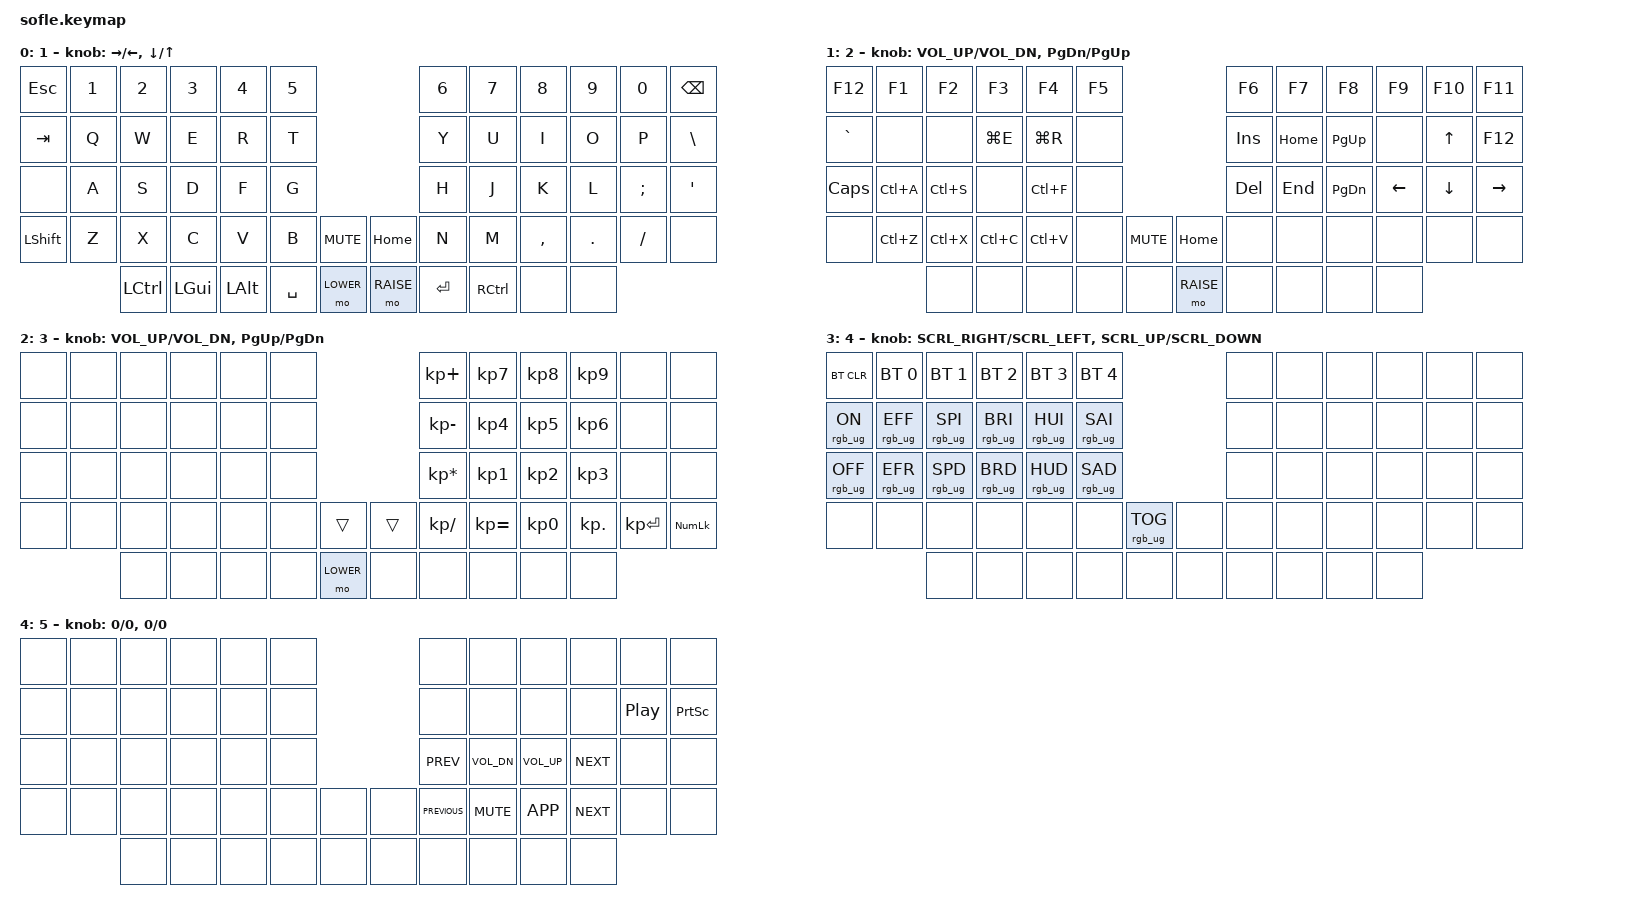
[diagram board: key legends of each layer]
/*
 * Copyright (c) 2020 The ZMK Contributors
 *
 * SPDX-License-Identifier: MIT
 */

#include <behaviors.dtsi>
#include <dt-bindings/zmk/bt.h>
#include <dt-bindings/zmk/ext_power.h>
#include <dt-bindings/zmk/keys.h>
#include <dt-bindings/zmk/pointing.h>
#include <dt-bindings/zmk/rgb.h>

#define BASE 0
#define LOWER 1
#define RAISE 2
#define ADJUST 3
#define FN 4

/ {
    behaviors {
        inc_dec_msc: inc_dec_msc {
            compatible = "zmk,behavior-sensor-rotate-var";
            #sensor-binding-cells = <2>;
            bindings = <&msc>, <&msc>;
        };
    };

    combos {
        compatible = "zmk,combos";

        combo_exclamation {
            timeout-ms = <200>;
            key-positions = <13 25>;
            bindings = <&kp EXCL>;
            layers = <BASE>;
        };

        combo_at {
            timeout-ms = <200>;
            key-positions = <14 26>;
            bindings = <&kp AT>;
            layers = <BASE>;
        };

        combo_hash {
            timeout-ms = <200>;
            key-positions = <15 27>;
            bindings = <&kp HASH>;
            layers = <BASE>;
        };

        combo_dollar {
            timeout-ms = <200>;
            key-positions = <16 28>;
            bindings = <&kp DLLR>;
            layers = <BASE>;
        };

        combo_percent {
            timeout-ms = <200>;
            key-positions = <17 29>;
            bindings = <&kp PRCNT>;
            layers = <BASE>;
        };

        combo_caret {
            timeout-ms = <200>;
            key-positions = <18 30>;
            bindings = <&kp CARET>;
            layers = <BASE>;
        };

        combo_ampersand {
            timeout-ms = <200>;
            key-positions = <19 31>;
            bindings = <&kp AMPS>;
            layers = <BASE>;
        };

        combo_asterisk {
            timeout-ms = <200>;
            key-positions = <20 32>;
            bindings = <&kp ASTRK>;
            layers = <BASE>;
        };

        combo_left_brace {
            timeout-ms = <200>;
            key-positions = <3 4>;
            bindings = <&kp LBRC>;
            layers = <BASE>;
        };

        combo_left_bracket {
            timeout-ms = <200>;
            key-positions = <15 16>;
            bindings = <&kp LBKT>;
            layers = <BASE>;
        };

        combo_left_parenthesis {
            timeout-ms = <200>;
            key-positions = <27 28>;
            bindings = <&kp LPAR>;
            layers = <BASE>;
        };

        combo_less_than {
            timeout-ms = <200>;
            key-positions = <39 40>;
            bindings = <&kp LT>;
            layers = <BASE>;
        };

        combo_right_brace {
            timeout-ms = <200>;
            key-positions = <7 8>;
            bindings = <&kp RBRC>;
            layers = <BASE>;
        };

        combo_right_bracket {
            timeout-ms = <200>;
            key-positions = <19 20>;
            bindings = <&kp RBKT>;
            layers = <BASE>;
        };

        combo_right_parenthesis {
            timeout-ms = <200>;
            key-positions = <31 32>;
            bindings = <&kp RPAR>;
            layers = <BASE>;
        };

        combo_greater_than {
            timeout-ms = <200>;
            key-positions = <45 46>;
            bindings = <&kp GT>;
            layers = <BASE>;
        };

        combo_minus {
            timeout-ms = <200>;
            key-positions = <29 30>;
            bindings = <&kp MINUS>;
            layers = <BASE>;
        };

        combo_underscore {
            timeout-ms = <200>;
            key-positions = <40 41>;
            bindings = <&kp UNDER>;
            layers = <BASE>;
        };

        combo_delete {
            timeout-ms = <200>;
            key-positions = <11 23>;
            bindings = <&kp DEL>;
            layers = <BASE>;
        };
    };

    conditional_layers {
        compatible = "zmk,conditional-layers";

        adjust_layer {
            if-layers = <LOWER RAISE>;
            then-layer = <ADJUST>;
        };
    };

    keymap {
        compatible = "zmk,keymap";

        default_layer {
            display-name = "1";
            bindings = <
&kp ESC    &kp N1     &kp N2    &kp N3   &kp N4     &kp N5                              &kp N6  &kp N7    &kp N8     &kp N9   &kp N0    &kp BSPC
&kp TAB    &kp Q      &kp W     &kp E    &kp R      &kp T                               &kp Y   &kp U     &kp I      &kp O    &kp P     &kp BSLH
&none      &kp A      &kp S     &kp D    &kp F      &kp G                               &kp H   &kp J     &kp K      &kp L    &kp SEMI  &kp SINGLE_QUOTE
&kp LSHFT  &kp Z      &kp X     &kp C    &kp V      &kp B      &kp C_MUTE    &kp HOME   &kp N   &kp M     &kp COMMA  &kp DOT  &kp FSLH  &none
                    &kp LCTRL  &kp LGUI  &kp LALT  &kp SPACE  &mo LOWER    &mo RAISE  &kp ENTER  &kp RCTRL  &none    &none
            >;

            sensor-bindings = <&inc_dec_kp RIGHT LEFT &inc_dec_kp DOWN UP>;
        };

        lower_layer {
            display-name = "2";

            bindings = <
&kp F12    &kp F1     &kp F2     &kp F3     &kp F4     &kp F5                             &kp F6   &kp F7    &kp F8    &kp F9    &kp F10   &kp F11
&kp GRAVE  &none      &none       &kp LG(E)  &kp LG(R)  &none                              &kp INS  &kp HOME  &kp PG_UP &none      &kp UP    &kp F12
&kp CAPS   &kp LC(A)  &kp LC(S)   &none       &kp LC(F)  &none                              &kp DEL  &kp END   &kp PG_DN &kp LEFT  &kp DOWN  &kp RIGHT
&none      &kp LC(Z)  &kp LC(X)   &kp LC(C)  &kp LC(V)  &none  &kp C_MUTE  &kp HOME       &none    &none      &none      &none      &none      &none
                       &none       &none       &none      &none  &none       &mo RAISE     &none    &none      &none      &none
            >;

            sensor-bindings = <&inc_dec_kp C_VOL_UP C_VOL_DN &inc_dec_kp PG_DN PG_UP>;
        };

        raise_layer {
            display-name = "3";
            bindings = <
&none  &none  &none  &none  &none  &none                        &kp KP_PLUS      &kp KP_N7     &kp KP_N8  &kp KP_N9   &none         &none
&none  &none  &none  &none  &none  &none                        &kp KP_MINUS     &kp KP_N4     &kp KP_N5  &kp KP_N6   &none         &none
&none  &none  &none  &none  &none  &none                        &kp KP_MULTIPLY  &kp KP_N1     &kp KP_N2  &kp KP_N3   &none         &none
&none  &none  &none  &none  &none  &none  &trans  &trans        &kp KP_DIVIDE    &kp KP_EQUAL  &kp KP_N0  &kp KP_DOT  &kp KP_ENTER &kp KP_NUMLOCK
              &none  &none  &none  &none  &mo LOWER             &none            &none         &none       &none        &none
            >;

            sensor-bindings = <&inc_dec_kp C_VOL_UP C_VOL_DN &inc_dec_kp PG_UP PG_DN>;
        };

        adjust_layer {
            display-name = "4";
            bindings = <
&bt BT_CLR         &bt BT_SEL 0      &bt BT_SEL 1     &bt BT_SEL 2     &bt BT_SEL 3  &bt BT_SEL 4                                  &none            &none            &none            &none            &none            &none
&rgb_ug RGB_ON     &rgb_ug RGB_EFF   &rgb_ug RGB_SPI  &rgb_ug RGB_BRI  &rgb_ug RGB_HUI  &rgb_ug RGB_SAI                             &none            &none            &none            &none            &none            &none
&rgb_ug RGB_OFF    &rgb_ug RGB_EFR   &rgb_ug RGB_SPD  &rgb_ug RGB_BRD  &rgb_ug RGB_HUD  &rgb_ug RGB_SAD                             &none            &none            &none            &none            &none            &none
&none              &none             &none            &none            &none         &none             &rgb_ug RGB_TOG  &none          &none            &none            &none            &none            &none            &none
                                      &none            &none            &none         &none             &none            &none          &none            &none            &none            &none
            >;

            sensor-bindings = <&inc_dec_msc SCRL_RIGHT SCRL_LEFT &inc_dec_msc SCRL_UP SCRL_DOWN>;
        };

        fn_layer {
            display-name = "5";
            bindings = <
&none  &none  &none  &none  &none  &none                    &none           &none         &none        &none       &none             &none
&none  &none  &none  &none  &none  &none                    &none           &none         &none        &none       &kp C_PLAY_PAUSE  &kp PRINTSCREEN
&none  &none  &none  &none  &none  &none                    &kp C_PREV      &kp C_VOL_DN  &kp C_VOL_UP &kp C_NEXT  &none             &none
&none  &none  &none  &none  &none  &none  &none    &none    &kp K_PREVIOUS  &kp C_MUTE    &kp K_APP    &kp K_NEXT  &none             &none
              &none  &none  &none  &none  &none    &none    &none           &none         &none        &none
            >;

            sensor-bindings = <&inc_dec_kp 0 0 &inc_dec_kp 0 0>;
        };
    };
};
